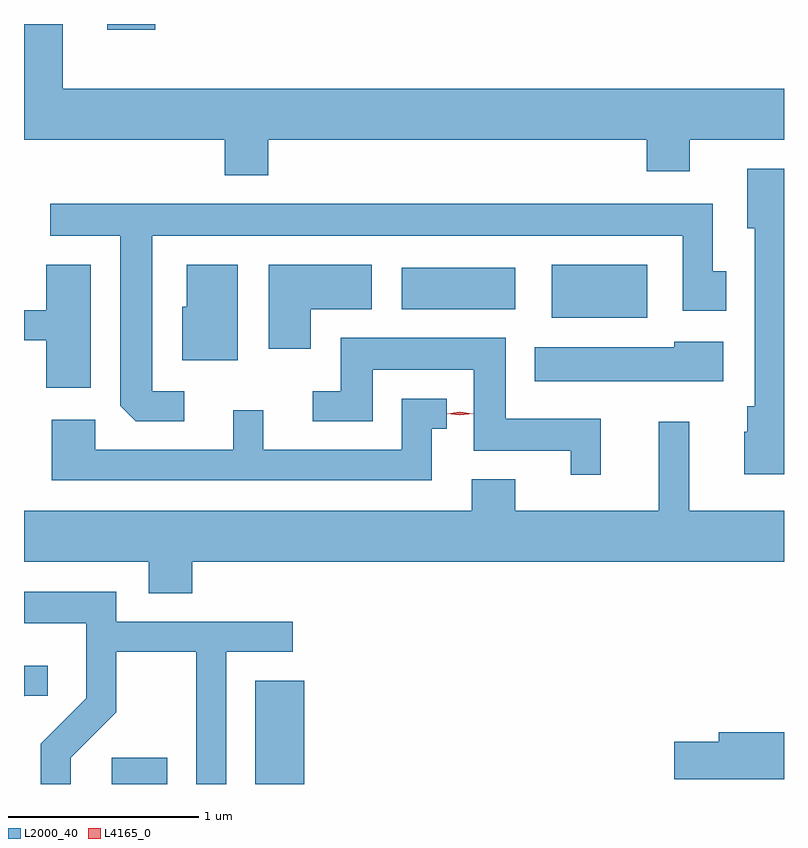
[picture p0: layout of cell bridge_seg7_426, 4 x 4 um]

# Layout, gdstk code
import gdstk
lib = gdstk.Library(unit=1e-6, precision=1e-09)
def R(c, l, rs):  # rectangles x0, y0, x1, y1
    for r in rs: c.add(gdstk.rectangle(r[:2], r[2:], *l))
def P(c, l, *ps):  # polygons
    for p in ps: c.add(gdstk.Polygon(p, *l))
L2000_40 = (2000, 40)
L4165_0 = (4165, 0)

bridge_seg7_426 = lib.new_cell('bridge_seg7_426')
R(bridge_seg7_426, L2000_40, [(1229.436,1695.386,1229.729,1695.524), (1230.191,1695.386,1230.449,1695.929), (1231.751,1697.841,1232.254,1698.119), (1230.961,1697.886,1231.559,1698.104), (1229.411,1699.356,1229.664,1699.386)])
P(bridge_seg7_426, L2000_40, [(1230.259,1698.776),(1232.251,1698.776),(1232.251,1698.611),(1232.479,1698.611),(1232.479,1698.776),(1232.974,1698.776),(1232.974,1699.044),(1229.179,1699.044),(1229.179,1699.386),(1228.974,1699.386),(1228.974,1698.776),(1230.031,1698.776),(1230.031,1698.591),(1230.259,1698.591)],
  [(1232.974,1698.624),(1232.781,1698.624),(1232.781,1698.311),(1232.821,1698.311),(1232.821,1697.374),(1232.781,1697.374),(1232.781,1697.24),(1232.766,1697.24),(1232.766,1697.016),(1232.974,1697.016)],
  [(1229.818,1697.454),(1229.649,1697.454),(1229.649,1698.271),(1232.441,1698.271),(1232.441,1697.876),(1232.669,1697.876),(1232.669,1698.084),(1232.599,1698.084),(1232.599,1698.439),(1229.113,1698.439),(1229.113,1698.271),(1229.481,1698.271),(1229.481,1697.377),(1229.562,1697.296),(1229.818,1697.296)],
  [(1230.484,1697.886),(1230.804,1697.886),(1230.804,1698.119),(1230.261,1698.119),(1230.261,1697.676),(1230.484,1697.676)],
  [(1230.099,1698.119),(1229.831,1698.119),(1229.831,1697.899),(1229.806,1697.899),(1229.806,1697.616),(1230.099,1697.616)],
  [(1229.324,1698.119),(1229.091,1698.119),(1229.091,1697.879),(1228.974,1697.879),(1228.974,1697.721),(1229.091,1697.721),(1229.091,1697.471),(1229.324,1697.471)],
  [(1232.009,1697.309),(1231.509,1697.309),(1231.509,1697.734),(1230.641,1697.734),(1230.641,1697.454),(1230.493,1697.454),(1230.493,1697.296),(1230.809,1697.296),(1230.809,1697.566),(1231.341,1697.566),(1231.341,1697.141),(1231.851,1697.141),(1231.851,1697.013),(1232.009,1697.013)],
  [(1232.654,1697.714),(1232.396,1697.714),(1232.396,1697.684),(1231.661,1697.684),(1231.661,1697.506),(1232.654,1697.506)],
  [(1231.119,1697.256),(1231.198,1697.256),(1231.198,1697.414),(1230.961,1697.414),(1230.961,1697.144),(1230.234,1697.144),(1230.234,1697.353),(1230.076,1697.353),(1230.076,1697.144),(1229.349,1697.144),(1229.349,1697.304),(1229.121,1697.304),(1229.121,1696.986),(1231.119,1696.986)],
  [(1229.859,1696.556),(1232.974,1696.556),(1232.974,1696.824),(1232.474,1696.824),(1232.474,1697.293),(1232.316,1697.293),(1232.316,1696.824),(1231.559,1696.824),(1231.559,1696.989),(1231.331,1696.989),(1231.331,1696.824),(1228.974,1696.824),(1228.974,1696.556),(1229.631,1696.556),(1229.631,1696.391),(1229.859,1696.391)],
  [(1229.219,1695.524),(1229.459,1695.764),(1229.459,1696.081),(1229.881,1696.081),(1229.881,1695.386),(1230.039,1695.386),(1230.039,1696.081),(1230.388,1696.081),(1230.388,1696.239),(1229.459,1696.239),(1229.459,1696.399),(1228.974,1696.399),(1228.974,1696.231),(1229.301,1696.231),(1229.301,1695.837),(1229.061,1695.597),(1229.061,1695.386),(1229.219,1695.386)],
  [(1228.977,1695.851),(1229.098,1695.851),(1229.098,1696.009),(1228.974,1696.009),(1228.974,1695.848)],
  [(1232.974,1695.659),(1232.631,1695.659),(1232.631,1695.609),(1232.396,1695.609),(1232.396,1695.411),(1232.974,1695.411)])
P(bridge_seg7_426, L4165_0, [(1231.268,1697.326),(1231.199,1697.334),(1231.199,1697.335),(1231.199,1697.336),(1231.268,1697.345),(1231.338,1697.336),(1231.338,1697.336),(1231.338,1697.335)])

lib.write_gds('bridge_seg7_426.gds')
